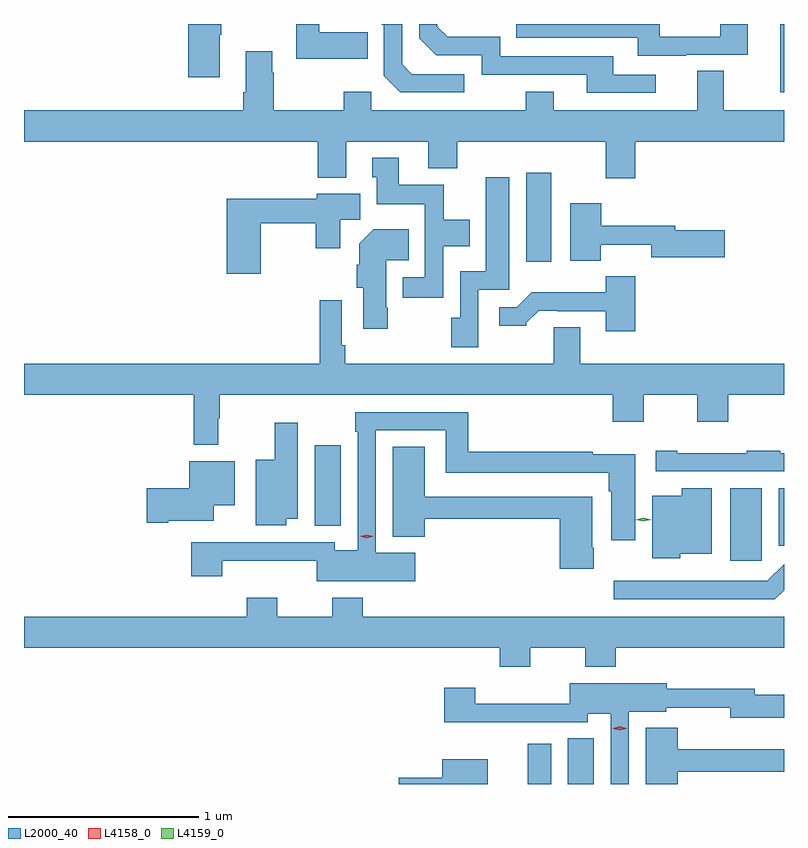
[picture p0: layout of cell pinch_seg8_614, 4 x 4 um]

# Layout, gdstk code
import gdstk
lib = gdstk.Library(unit=1e-6, precision=1e-09)
def R(c, l, rs):  # rectangles x0, y0, x1, y1
    for r in rs: c.add(gdstk.rectangle(r[:2], r[2:], *l))
def P(c, l, *ps):  # polygons
    for p in ps: c.add(gdstk.Polygon(p, *l))
L2000_40 = (2000, 40)
L4158_0 = (4158, 0)
L4159_0 = (4159, 0)

pinch_seg8_614 = lib.new_cell('pinch_seg8_614')
R(pinch_seg8_614, L2000_40, [(211.094,1101.131,211.216,1101.343), (211.304,1101.131,211.441,1101.371), (212.159,1102.305,212.326,1102.687), (212.414,1102.385,212.442,1102.687), (209.972,1102.489,210.109,1102.915), (211.085,1103.88,211.216,1104.349), (212.423,1104.771,212.442,1105.131)])
P(pinch_seg8_614, L2000_40, [(210.76,1104.867),(210.483,1104.867),(210.432,1104.918),(210.432,1105.131),(210.324,1105.131),(210.324,1105.127),(210.336,1105.127),(210.336,1104.858),(210.423,1104.771),(210.76,1104.771)],
  [(210.251,1105.087),(209.995,1105.087),(209.995,1105.131),(209.874,1105.131),(209.874,1104.947),(210.251,1104.947)],
  [(209.473,1105.075),(209.481,1105.075),(209.481,1105.131),(209.306,1105.131),(209.306,1104.852),(209.473,1104.852)],
  [(211.768,1104.864),(211.543,1104.864),(211.543,1104.96),(210.948,1104.96),(210.948,1105.063),(210.671,1105.063),(210.618,1105.116),(210.618,1105.131),(210.522,1105.131),(210.522,1105.056),(210.612,1104.966),(210.852,1104.966),(210.852,1104.864),(211.403,1104.864),(211.403,1104.768),(211.768,1104.768)],
  [(211.927,1104.969),(212.251,1104.969),(212.251,1105.131),(212.106,1105.131),(212.106,1105.065),(211.788,1105.065),(211.788,1105.131),(211.033,1105.131),(211.033,1105.059),(211.673,1105.059),(211.673,1104.965),(211.927,1104.965)],
  [(211.658,1104.512),(212.442,1104.512),(212.442,1104.676),(212.125,1104.676),(212.125,1104.884),(211.985,1104.884),(211.985,1104.676),(211.231,1104.676),(211.231,1104.775),(211.084,1104.775),(211.084,1104.676),(210.27,1104.676),(210.27,1104.775),(210.124,1104.775),(210.124,1104.676),(209.757,1104.676),(209.757,1104.875),(209.749,1104.875),(209.749,1104.988),(209.609,1104.988),(209.609,1104.772),(209.597,1104.772),(209.597,1104.676),(208.442,1104.676),(208.442,1104.512),(209.987,1104.512),(209.987,1104.323),(210.139,1104.323),(210.139,1104.512),(210.569,1104.512),(210.569,1104.371),(210.722,1104.371),(210.722,1104.512),(211.505,1104.512),(211.505,1104.318),(211.658,1104.318)],
  [(210.648,1103.96),(210.787,1103.96),(210.787,1104.1),(210.651,1104.1),(210.651,1104.286),(210.415,1104.286),(210.415,1104.427),(210.275,1104.427),(210.275,1104.324),(210.299,1104.324),(210.299,1104.182),(210.552,1104.182),(210.552,1103.799),(210.435,1103.799),(210.435,1103.691),(210.648,1103.691)],
  [(210.834,1103.733),(210.997,1103.733),(210.997,1104.325),(210.872,1104.325),(210.872,1103.83),(210.738,1103.83),(210.738,1103.586),(210.691,1103.586),(210.691,1103.43),(210.834,1103.43)],
  [(209.688,1104.082),(209.977,1104.082),(209.977,1103.952),(210.106,1103.952),(210.106,1104.1),(210.211,1104.1),(210.211,1104.238),(209.984,1104.238),(209.984,1104.211),(209.51,1104.211),(209.51,1103.817),(209.688,1103.817)],
  [(211.478,1103.969),(211.742,1103.969),(211.742,1103.903),(212.131,1103.903),(212.131,1104.045),(211.87,1104.045),(211.87,1104.069),(211.48,1104.069),(211.48,1104.187),(211.316,1104.187),(211.316,1103.885),(211.478,1103.885)],
  [(210.357,1103.638),(210.349,1103.638),(210.349,1103.888),(210.467,1103.888),(210.467,1104.052),(210.284,1104.052),(210.206,1103.974),(210.206,1103.864),(210.194,1103.864),(210.194,1103.742),(210.227,1103.742),(210.227,1103.526),(210.357,1103.526)],
  [(211.658,1103.803),(211.503,1103.803),(211.503,1103.719),(211.114,1103.719),(211.035,1103.64),(210.942,1103.64),(210.942,1103.543),(211.086,1103.543),(211.086,1103.558),(211.15,1103.622),(211.249,1103.622),(211.249,1103.619),(211.505,1103.619),(211.505,1103.514),(211.658,1103.514)],
  [(209.464,1103.057),(209.471,1103.057),(209.471,1103.18),(211.541,1103.18),(211.541,1103.037),(211.705,1103.037),(211.705,1103.18),(211.985,1103.18),(211.985,1103.037),(212.149,1103.037),(212.149,1103.18),(212.442,1103.18),(212.442,1103.344),(211.369,1103.344),(211.369,1103.534),(211.229,1103.534),(211.229,1103.344),(210.134,1103.344),(210.134,1103.44),(210.114,1103.44),(210.114,1103.677),(209.998,1103.677),(209.998,1103.344),(208.442,1103.344),(208.442,1103.18),(209.335,1103.18),(209.335,1102.917),(209.464,1102.917)],
  [(210.502,1102.348),(210.294,1102.348),(210.294,1102.992),(210.663,1102.992),(210.663,1102.77),(211.52,1102.77),(211.52,1102.673),(211.532,1102.673),(211.532,1102.413),(211.66,1102.413),(211.66,1102.867),(211.436,1102.867),(211.436,1102.879),(210.779,1102.879),(210.779,1103.088),(210.186,1103.088),(210.186,1102.985),(210.198,1102.985),(210.198,1102.36),(210.078,1102.36),(210.078,1102.404),(209.321,1102.404),(209.321,1102.224),(209.486,1102.224),(209.486,1102.307),(209.982,1102.307),(209.982,1102.199),(210.502,1102.199)],
  [(209.821,1102.526),(209.884,1102.526),(209.884,1103.032),(209.762,1103.032),(209.762,1102.837),(209.663,1102.837),(209.663,1102.493),(209.821,1102.493)],
  [(211.44,1102.375),(211.432,1102.375),(211.432,1102.644),(210.55,1102.644),(210.55,1102.907),(210.383,1102.907),(210.383,1102.433),(210.55,1102.433),(210.55,1102.528),(211.262,1102.528),(211.262,1102.263),(211.44,1102.263)],
  [(212.442,1102.873),(212.423,1102.873),(212.423,1102.885),(212.245,1102.885),(212.245,1102.873),(211.879,1102.873),(211.879,1102.885),(211.767,1102.885),(211.767,1102.776),(212.442,1102.776)],
  [(209.2,1102.517),(209.44,1102.517),(209.44,1102.598),(209.551,1102.598),(209.551,1102.831),(209.312,1102.831),(209.312,1102.688),(209.088,1102.688),(209.088,1102.505),(209.2,1102.505)],
  [(211.896,1102.343),(212.062,1102.343),(212.062,1102.687),(211.904,1102.687),(211.904,1102.648),(211.748,1102.648),(211.748,1102.319),(211.896,1102.319)],
  [(212.442,1102.152),(212.442,1102.287),(212.355,1102.2),(211.545,1102.2),(211.545,1102.104),(212.394,1102.104)],
  [(209.615,1102.111),(209.615,1102.012),(208.442,1102.012),(208.442,1101.848),(210.947,1101.848),(210.947,1101.749),(211.107,1101.749),(211.107,1101.848),(211.396,1101.848),(211.396,1101.749),(211.556,1101.749),(211.556,1101.848),(212.442,1101.848),(212.442,1102.012),(210.224,1102.012),(210.224,1102.111),(210.064,1102.111),(210.064,1102.012),(209.775,1102.012),(209.775,1102.111)],
  [(211.626,1101.512),(211.821,1101.512),(211.821,1101.532),(212.159,1101.532),(212.159,1101.479),(212.442,1101.479),(212.442,1101.601),(212.287,1101.601),(212.287,1101.632),(211.825,1101.632),(211.825,1101.661),(211.314,1101.661),(211.314,1101.554),(210.818,1101.554),(210.818,1101.637),(210.653,1101.637),(210.653,1101.455),(210.901,1101.455),(210.901,1101.456),(211.41,1101.456),(211.41,1101.5),(211.53,1101.5),(211.53,1101.131),(211.626,1101.131)],
  [(211.882,1101.196),(212.442,1101.196),(212.442,1101.313),(211.882,1101.313),(211.882,1101.427),(211.715,1101.427),(211.715,1101.131),(211.882,1101.131)],
  [(210.883,1101.262),(210.644,1101.262),(210.644,1101.164),(210.414,1101.164),(210.414,1101.131),(210.883,1101.131)])
P(pinch_seg8_614, L4158_0, [(211.578,1101.414),(211.543,1101.423),(211.543,1101.424),(211.543,1101.424),(211.578,1101.434),(211.612,1101.424),(211.612,1101.424),(211.612,1101.423)],
  [(210.245,1102.424),(210.211,1102.434),(210.21,1102.434),(210.211,1102.434),(210.245,1102.444),(210.28,1102.434),(210.28,1102.434),(210.28,1102.434)])
P(pinch_seg8_614, L4159_0, [(211.702,1102.513),(211.661,1102.522),(211.66,1102.523),(211.661,1102.523),(211.702,1102.533),(211.743,1102.523),(211.743,1102.523),(211.743,1102.522)])

lib.write_gds('pinch_seg8_614.gds')
